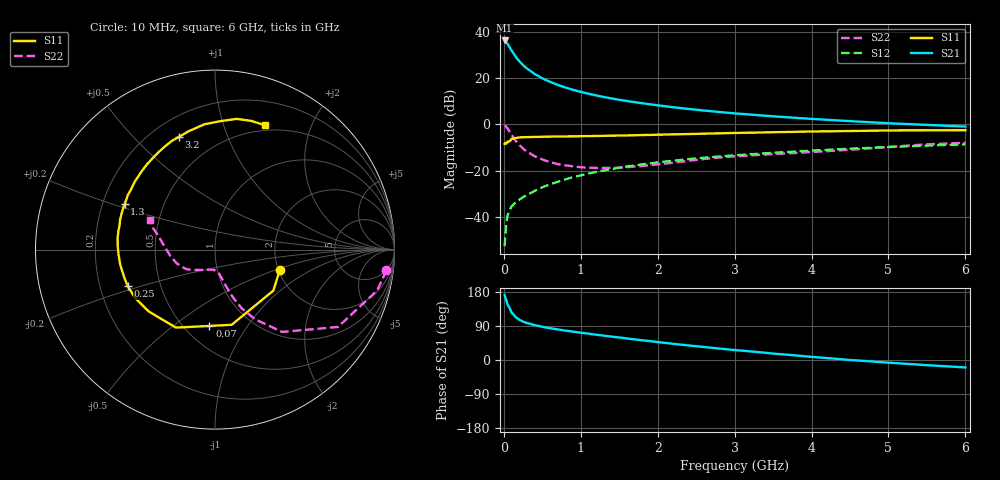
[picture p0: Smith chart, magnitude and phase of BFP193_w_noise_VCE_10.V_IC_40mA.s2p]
! (c) 2017  Infineon Technologies AG, Munich
! Infineon Technologies  Discrete & RF Semiconductors
! BFP193
! VCE =  10. V,  IC =  40 mA
! Common Emitter S-Parameters:  Jan 2017
# GHz  S  MA  R  50
!  f  S11  S21  S12  S22
! GHz  MAG  ANG  MAG  ANG  MAG  ANG  MAG  ANG
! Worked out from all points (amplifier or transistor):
!   77 points, 10 MHz to 6 GHz, reference 50 ohm
!   highest |S21| = 36.3 dB at 10 MHz (marker M1)
!   |S21| within 3 dB of that: start of sweep to 75.97 MHz
!   unconditionally stable (mu >= 1): 689.1 MHz to 2.409 GHz
!   at 130 MHz: K = 0.52, MSG = 32.5 dB, |S12| = -34.6 dB
!   at 2.2 GHz: K = 1.01, MAG = 10.9 dB, |S12| = -15.8 dB
!   at 6 GHz: K = 0.91, MSG = 3.9 dB, |S12| = -8.7 dB
!   lowest NFmin = 1.38 dB at 450 MHz
!   S11 on the Smith chart (normalised r, x): 10 MHz: 2.03, -0.54; 70 MHz: 0.66, -0.68; 250 MHz: 0.32, -0.18; 1.3 GHz: 0.29, +0.22; 3.2 GHz: 0.31, +0.68; 6 GHz: 0.44, +1.38
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0.01  0.3787 -17.6  65.58 171.6  0.0023 81.5  0.9621 -6.9
0.02  0.3973 -35.1  64.38 164.5  0.0041 82.7  0.9319 -14.2
0.05  0.4292 -77.5  54.95 145.5  0.0109 64.5  0.8093 -32.2
0.07  0.4264 -94.2  48.27 138.9  0.0132 61.7  0.714 -38.3
0.1  0.4861 -116.6  39.94 125.2  0.0166 59.0  0.592 -50.8
0.15  0.505 -137.0  29.7 113.8  0.0201 55.6  0.4464 -60.2
0.2  0.52 -148.8  23.38 106.5  0.0232 58.1  0.358 -65.6
0.25  0.5272 -157.2  19.14 101.2  0.0266 58.4  0.2979 -68.6
0.3  0.529 -162.7  16.14 97.6  0.0293 59.2  0.2558 -71.0
0.4  0.5348 -171.1  12.33 91.9  0.036 62.6  0.204 -73.8
0.5  0.5382 -177.3  9.926 87.6  0.0433 64.2  0.1733 -76.0
0.6  0.5424 177.7  8.337 83.9  0.0503 64.7  0.1521 -78.3
0.7  0.5464 173.4  7.157 80.8  0.057 66.0  0.1375 -80.0
0.9  0.5485 166.0  5.587 74.8  0.0719 65.8  0.1235 -84.7
1.1  0.5574 159.5  4.605 69.5  0.0861 65.0  0.1156 -90.4
1.3  0.5638 153.3  3.91 64.3  0.1 63.2  0.1137 -97.0
2.1  0.6012 131.3  2.462 45.1  0.1564 55.0  0.1417 -127.0
3.1  0.6552 109.7  1.678 24.6  0.2192 43.1  0.2075 -152.5
3.2  0.6594 107.8  1.629 22.8  0.2248 42.0  0.2121 -154.7
4.1  0.7031 93.3  1.284 6.7  0.2752 31.7  0.2571 -174.7
5.1  0.7389 79.3  1.039 -8.3  0.3272 20.4  0.3322 165.2
6  0.7467 68.1  0.895 -19.7  0.3687 10.5  0.3986 155.8
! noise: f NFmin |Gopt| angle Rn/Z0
0.45  1.38  0.38  -172  0.08
0.9  1.43  0.41  -167  0.08
1.9  2.05  0.59  -135  0.2
2.4  2.37  0.63  -120  0.42
